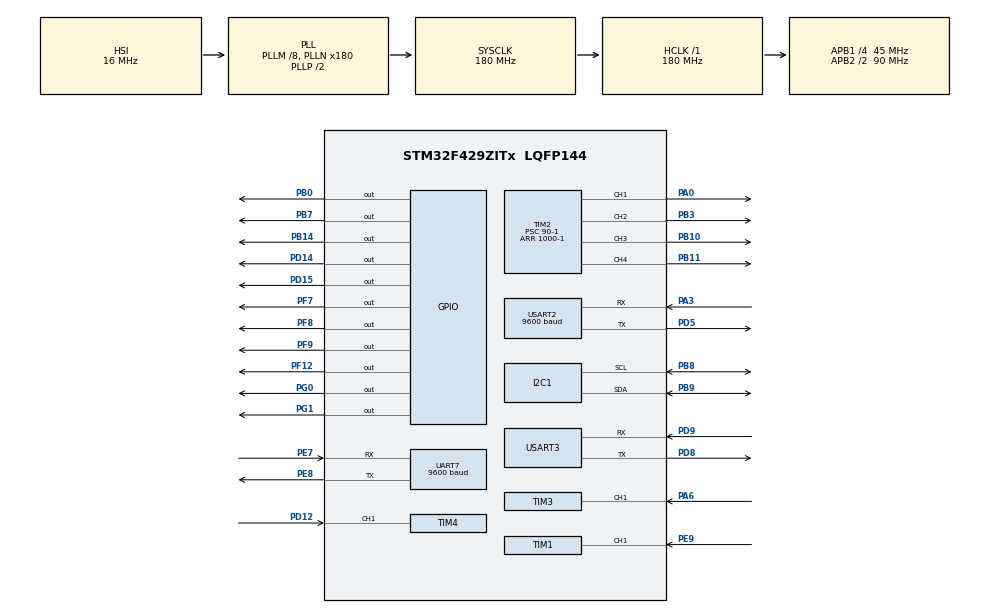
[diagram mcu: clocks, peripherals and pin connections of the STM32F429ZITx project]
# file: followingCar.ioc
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Mcu.Family=STM32F4
Mcu.Name=STM32F429ZITx
Mcu.Package=LQFP144
NVIC.PriorityGroup=NVIC_PRIORITYGROUP_4
NVIC.TIM1_CC_IRQn=true\:0\:0\:false\:false\:true\:true\:true\:true
NVIC.TIM3_IRQn=true\:0\:0\:false\:false\:true\:true\:true\:true
NVIC.TIM4_IRQn=true\:0\:0\:false\:false\:true\:true\:true\:true
NVIC.UART7_IRQn=true\:0\:0\:false\:false\:true\:true\:true\:true
NVIC.USART2_IRQn=true\:0\:0\:false\:false\:true\:true\:true\:true
NVIC.USART3_IRQn=true\:0\:0\:false\:false\:true\:true\:true\:true
PA0/WKUP.Signal=S_TIM2_CH1_ETR
PA13.Mode=Serial_Wire
PA13.Signal=SYS_JTMS-SWDIO
PA14.Mode=Serial_Wire
PA14.Signal=SYS_JTCK-SWCLK
PA3.Mode=Asynchronous
PA3.Signal=USART2_RX
PA6.Signal=S_TIM3_CH1
PB0.Signal=GPIO_Output
PB10.Signal=S_TIM2_CH3
PB11.Signal=S_TIM2_CH4
PB14.Signal=GPIO_Output
PB3.Signal=S_TIM2_CH2
PB7.Signal=GPIO_Output
PB8.GPIO_Pu=GPIO_PULLUP
PB8.Mode=I2C
PB8.Signal=I2C1_SCL
PB9.GPIO_Pu=GPIO_PULLUP
PB9.Mode=I2C
PB9.Signal=I2C1_SDA
PC14/OSC32_IN.Mode=LSE-External-Oscillator
PC14/OSC32_IN.Signal=RCC_OSC32_IN
PC15/OSC32_OUT.Mode=LSE-External-Oscillator
PC15/OSC32_OUT.Signal=RCC_OSC32_OUT
PD12.Signal=S_TIM4_CH1
PD14.Signal=GPIO_Output
PD15.Signal=GPIO_Output
PD5.Mode=Asynchronous
PD5.Signal=USART2_TX
PD8.Mode=Asynchronous
PD8.Signal=USART3_TX
PD9.Mode=Asynchronous
PD9.Signal=USART3_RX
PE7.Mode=Asynchronous
PE7.Signal=UART7_RX
PE8.Mode=Asynchronous
PE8.Signal=UART7_TX
PE9.Signal=S_TIM1_CH1
PF12.Signal=GPIO_Output
PF7.Signal=GPIO_Output
PF8.Signal=GPIO_Output
PF9.Signal=GPIO_Output
PG0.Signal=GPIO_Output
PG1.Signal=GPIO_Output
ProjectManager.HeapSize=0x200
ProjectManager.StackSize=0x400
ProjectManager.TargetToolchain=STM32CubeIDE
RCC.48MHZClocksFreq_Value=90000000
RCC.AHBFreq_Value=180000000
RCC.APB1CLKDivider=RCC_HCLK_DIV4
RCC.APB1Freq_Value=45000000
RCC.APB1TimFreq_Value=90000000
RCC.APB2CLKDivider=RCC_HCLK_DIV2
RCC.APB2Freq_Value=90000000
RCC.APB2TimFreq_Value=180000000
RCC.CortexFreq_Value=180000000
RCC.HCLKFreq_Value=180000000
RCC.HSE_VALUE=25000000
RCC.HSI_VALUE=16000000
RCC.PLLM=8
RCC.PLLN=180
RCC.RCC_RTC_Clock_Source=RCC_RTCCLKSOURCE_LSE
RCC.RCC_RTC_Clock_SourceVirtual=RCC_RTCCLKSOURCE_LSE
RCC.SYSCLKFreq_VALUE=180000000
RCC.SYSCLKSource=RCC_SYSCLKSOURCE_PLLCLK
RCC.VCOOutputFreq_Value=360000000
SH.S_TIM1_CH1.0=TIM1_CH1,Input_Capture1_from_TI1
SH.S_TIM2_CH1_ETR.0=TIM2_CH1,PWM Generation1 CH1
SH.S_TIM2_CH2.0=TIM2_CH2,PWM Generation2 CH2
SH.S_TIM2_CH3.0=TIM2_CH3,PWM Generation3 CH3
SH.S_TIM2_CH4.0=TIM2_CH4,PWM Generation4 CH4
SH.S_TIM3_CH1.0=TIM3_CH1,Input_Capture1_from_TI1
SH.S_TIM4_CH1.0=TIM4_CH1,Input_Capture1_from_TI1
TIM1.Channel-Input_Capture1_from_TI1=TIM_CHANNEL_1
TIM1.Prescaler=180-1
TIM2.Channel-PWM\ Generation1\ CH1=TIM_CHANNEL_1
TIM2.Channel-PWM\ Generation2\ CH2=TIM_CHANNEL_2
TIM2.Channel-PWM\ Generation3\ CH3=TIM_CHANNEL_3
TIM2.Channel-PWM\ Generation4\ CH4=TIM_CHANNEL_4
TIM2.OCMode_PWM-PWM\ Generation1\ CH1=TIM_OCMODE_PWM2
TIM2.OCMode_PWM-PWM\ Generation2\ CH2=TIM_OCMODE_PWM2
TIM2.OCMode_PWM-PWM\ Generation3\ CH3=TIM_OCMODE_PWM2
TIM2.OCMode_PWM-PWM\ Generation4\ CH4=TIM_OCMODE_PWM2
TIM2.Period=1000-1
TIM2.Prescaler=90-1
TIM2.Pulse-PWM\ Generation1\ CH1=0
TIM3.Channel-Input_Capture1_from_TI1=TIM_CHANNEL_1
TIM3.Period=0xffff-1
TIM3.Prescaler=90-1
TIM4.Channel-Input_Capture1_from_TI1=TIM_CHANNEL_1
TIM4.Period=65535
TIM4.Prescaler=90-1
UART7.BaudRate=9600
UART7.VirtualMode=Asynchronous
USART2.BaudRate=9600
USART2.VirtualMode=VM_ASYNC
USART3.VirtualMode=VM_ASYNC
VP_RTC_VS_RTC_Activate.Mode=RTC_Enabled
VP_TIM1_VS_ClockSourceINT.Mode=Internal
VP_TIM2_VS_ClockSourceINT.Mode=Internal
VP_TIM3_VS_ClockSourceINT.Mode=Internal
VP_TIM4_VS_ClockSourceINT.Mode=Internal
board=custom

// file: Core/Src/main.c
/* USER CODE BEGIN Header */
/**
  ******************************************************************************
  * @file           : main.c
  * @brief          : Main program body
  ******************************************************************************
  * @attention
  *
  * Copyright (c) 2022 STMicroelectronics.
  * All rights reserved.
  *
  * This software is licensed under terms that can be found in the LICENSE file
  * in the root directory of this software component.
  * If no LICENSE file comes with this software, it is provided AS-IS.
  *
  ******************************************************************************
  */
/* USER CODE END Header */
#include "main.h"
#include "i2c.h"
#include "rtc.h"
#include "tim.h"
#include "usart.h"
#include "gpio.h"

/* USER CODE BEGIN Includes */
#include "gps.h"
#include "bluetooth.h"
#include <stdio.h>
#include "HMC5883L.h"
#include "motor.h"
#include "selfDriving.h"
/* USER CODE END Includes */

/* USER CODE BEGIN PD */
#ifdef __GNUC__
  /* With GCC, small printf (option LD Linker->Libraries->Small printf
     set to 'Yes') calls __io_putchar() */
  #define PUTCHAR_PROTOTYPE int __io_putchar(int ch)
#else
  #define PUTCHAR_PROTOTYPE int fputc(int ch, FILE *f)
#endif /* __GNUC__ */
PUTCHAR_PROTOTYPE
{
  /* Place your implementation of fputc here */
  /* e.g. write a character to the EVAL_COM1 and Loop until the end of transmission */
  HAL_UART_Transmit(&huart3, (uint8_t *)&ch, 1, 0xFFFF);

  return ch;
}
/* USER CODE END PD */

/* USER CODE BEGIN PV */
extern GPS_t GPS;
extern _DestinationGPS phoneGPS;
extern _DestinationGPS waypointGPS;

extern int controlCMD;
extern uint8_t Mode_Flag;

/* USER CODE END PV */

void SystemClock_Config(void);
/* USER CODE BEGIN PFP */
void calculateHeading(void);
void delay_1 (uint16_t time);
void delay_2 (uint16_t time);
void delay_3 (uint16_t time);
void HCSR04_Read_1 (void);;
void HCSR04_Read_2 (void);
void HCSR04_Read_3 (void);
void Average_Difference();
/* USER CODE END PFP */

/* USER CODE BEGIN 0 */

/*int __io_putchar(int ch) {
	HAL_UART_Transmit(&huart3, &ch, 1, 1000);
	return ch;
}*/

uint32_t IC_Val1[3] = {0};
uint32_t IC_Val2[3] = {0};
uint32_t Difference[3] = {0};
uint8_t Is_First_Captured[3] = {0};  // is the first value captured ?
uint16_t Distance[3]  = {0};

uint32_t Difference_temp[3][10] = {0,};
uint32_t total[3] = {0};
uint32_t average[3] = {0};
uint8_t index = 0;

/* USER CODE END 0 */

int main(void)
{

  /* MCU Configuration--------------------------------------------------------*/

  /* Reset of all peripherals, Initializes the Flash interface and the Systick. */
  HAL_Init();

  /* Configure the system clock */
  SystemClock_Config();

  /* Initialize all configured peripherals */
  MX_GPIO_Init();
  MX_RTC_Init();
  MX_USART2_UART_Init();
  MX_USART3_UART_Init();
  MX_UART7_Init();
  MX_I2C1_Init();
  MX_TIM2_Init();
  MX_TIM3_Init();
  MX_TIM1_Init();
  MX_TIM4_Init();
  /* USER CODE BEGIN 2 */

  GPS_Init();
  BT_Init();
  Compass_Init();
  Motor_Init();

  uint32_t start_tick = HAL_GetTick();
  uint32_t current_tick;

  HAL_TIM_IC_Start_IT(&htim3, TIM_CHANNEL_1);
  HAL_TIM_IC_Start_IT(&htim4, TIM_CHANNEL_1);
  HAL_TIM_IC_Start_IT(&htim1, TIM_CHANNEL_1);

  uint16_t emergency;
  CONTROLLER_SIGNAL turn;

  /* USER CODE END 2 */

  /* Infinite loop */
  /* USER CODE BEGIN WHILE */
  while (1)
  {

	  current_tick = HAL_GetTick();
	  if(current_tick - start_tick >= 70){
		  calculateHeading();

		  HCSR04_Read_1();
		  HCSR04_Read_2();
		  HCSR04_Read_3();
		  Average_Difference();

		  start_tick = current_tick;
	  }

	  if(Mode_Flag==CONTROL_MODE){
		  Move(controlCMD);

		  if(Distance[0] < 30){
			  emergency=1;
			  turn = Distance[1] > Distance[2]? RIGHT : LEFT;
			  HAL_GPIO_WritePin(GPIOG, GPIO_PIN_0, 1);
		  }

		  if(emergency==1){
			  if(Distance[0] < 30){
				  Move(turn);
				  HAL_Delay(100);

			  }else {
				  Move(turn);
				  HAL_Delay(700);
				  HAL_GPIO_WritePin(GPIOG, GPIO_PIN_0, 0);
				  emergency=0;
			  }
		  }

	  }else if(Mode_Flag==WAYPOINT_MODE){
		  if(waypointGPS.latitude!=0 && waypointGPS.latitude!=0){
			  SelfDriving();
		  }

	  }else if(Mode_Flag==AUTO_MODE){

	  }

    /* USER CODE END WHILE */

  }
}

void SystemClock_Config(void)
{
  RCC_OscInitTypeDef RCC_OscInitStruct = {0};
  RCC_ClkInitTypeDef RCC_ClkInitStruct = {0};

  /** Configure the main internal regulator output voltage
  */
  __HAL_RCC_PWR_CLK_ENABLE();
  __HAL_PWR_VOLTAGESCALING_CONFIG(PWR_REGULATOR_VOLTAGE_SCALE1);

  /** Initializes the RCC Oscillators according to the specified parameters
  * in the RCC_OscInitTypeDef structure.
  */
  RCC_OscInitStruct.OscillatorType = RCC_OSCILLATORTYPE_HSI|RCC_OSCILLATORTYPE_LSE;
  RCC_OscInitStruct.LSEState = RCC_LSE_ON;
  RCC_OscInitStruct.HSIState = RCC_HSI_ON;
  RCC_OscInitStruct.HSICalibrationValue = RCC_HSICALIBRATION_DEFAULT;
  RCC_OscInitStruct.PLL.PLLState = RCC_PLL_ON;
  RCC_OscInitStruct.PLL.PLLSource = RCC_PLLSOURCE_HSI;
  RCC_OscInitStruct.PLL.PLLM = 8;
  RCC_OscInitStruct.PLL.PLLN = 180;
  RCC_OscInitStruct.PLL.PLLP = RCC_PLLP_DIV2;
  RCC_OscInitStruct.PLL.PLLQ = 4;
  if (HAL_RCC_OscConfig(&RCC_OscInitStruct) != HAL_OK)
  {
    Error_Handler();
  }

  /** Activate the Over-Drive mode
  */
  if (HAL_PWREx_EnableOverDrive() != HAL_OK)
  {
    Error_Handler();
  }

  /** Initializes the CPU, AHB and APB buses clocks
  */
  RCC_ClkInitStruct.ClockType = RCC_CLOCKTYPE_HCLK|RCC_CLOCKTYPE_SYSCLK
                              |RCC_CLOCKTYPE_PCLK1|RCC_CLOCKTYPE_PCLK2;
  RCC_ClkInitStruct.SYSCLKSource = RCC_SYSCLKSOURCE_PLLCLK;
  RCC_ClkInitStruct.AHBCLKDivider = RCC_SYSCLK_DIV1;
  RCC_ClkInitStruct.APB1CLKDivider = RCC_HCLK_DIV4;
  RCC_ClkInitStruct.APB2CLKDivider = RCC_HCLK_DIV2;

  if (HAL_RCC_ClockConfig(&RCC_ClkInitStruct, FLASH_LATENCY_5) != HAL_OK)
  {
    Error_Handler();
  }
}

/* USER CODE BEGIN 4 */

void HAL_UART_RxCpltCallback(UART_HandleTypeDef *huart)
{
	if(huart == &huart2) GPS_UART_CallBack();
	if(huart->Instance == UART7) Phone_UART_CallBack();

}

void HAL_TIM_IC_CaptureCallback(TIM_HandleTypeDef *htim)
{
	if (htim->Instance == TIM3 && htim->Channel == HAL_TIM_ACTIVE_CHANNEL_1)  // if the interrupt source is channel1
	{
		if (Is_First_Captured[0]==0) // if the first value is not captured
		{
			IC_Val1[0] = HAL_TIM_ReadCapturedValue(htim, TIM_CHANNEL_1); // read the first value
			Is_First_Captured[0] = 1;  // set the first captured as true
			// Now change the polarity to falling edge
			__HAL_TIM_SET_CAPTUREPOLARITY(htim, TIM_CHANNEL_1, TIM_INPUTCHANNELPOLARITY_FALLING);
		}

		else if (Is_First_Captured[0]==1)   // if the first is already captured
		{
			IC_Val2[0] = HAL_TIM_ReadCapturedValue(htim, TIM_CHANNEL_1);  // read second value
			__HAL_TIM_SET_COUNTER(htim, 0);  // reset the counter

			if (IC_Val2[0] > IC_Val1[0])
			{
				Difference[0] = IC_Val2[0]-IC_Val1[0];
			}

			else if (IC_Val1[0] > IC_Val2[0])
			{
				Difference[0] = (0xffff - IC_Val1[0]) + IC_Val2[0];
			}

			//Distance[0] = Difference[0] * .034/2;
			Is_First_Captured[0] = 0; // set it back to false

			// set polarity to rising edge
			__HAL_TIM_SET_CAPTUREPOLARITY(htim, TIM_CHANNEL_1, TIM_INPUTCHANNELPOLARITY_RISING);
			__HAL_TIM_DISABLE_IT(&htim3, TIM_IT_CC1);
		}
	}

	else if (htim->Instance == TIM4 && htim->Channel == HAL_TIM_ACTIVE_CHANNEL_1)  // if the interrupt source is channel1
	{
		if (Is_First_Captured[1]==0) // if the first value is not captured
		{
			IC_Val1[1] = HAL_TIM_ReadCapturedValue(htim, TIM_CHANNEL_1); // read the first value
			Is_First_Captured[1] = 1;  // set the first captured as true
			// Now change the polarity to falling edge
			__HAL_TIM_SET_CAPTUREPOLARITY(htim, TIM_CHANNEL_1, TIM_INPUTCHANNELPOLARITY_FALLING);
		}

		else if (Is_First_Captured[1]==1)   // if the first is already captured
		{
			IC_Val2[1] = HAL_TIM_ReadCapturedValue(htim, TIM_CHANNEL_1);  // read second value
			__HAL_TIM_SET_COUNTER(htim, 0);  // reset the counter

			if (IC_Val2[1] > IC_Val1[1])
			{
				Difference[1] = IC_Val2[1]-IC_Val1[1];
			}

			else if (IC_Val1[1] > IC_Val2[1])
			{
				Difference[1] = (0xffff - IC_Val1[1]) + IC_Val2[1];
			}

			//Distance[1] = Difference[1] * .034/2;
			Is_First_Captured[1] = 0; // set it back to false

			// set polarity to rising edge
			__HAL_TIM_SET_CAPTUREPOLARITY(htim, TIM_CHANNEL_1, TIM_INPUTCHANNELPOLARITY_RISING);
			__HAL_TIM_DISABLE_IT(&htim4, TIM_IT_CC1);
		}
	}

	else if (htim->Instance == TIM1 && htim->Channel == HAL_TIM_ACTIVE_CHANNEL_1)  // if the interrupt source is channel1
	{
		if (Is_First_Captured[2]==0) // if the first value is not captured
		{
			IC_Val1[2] = HAL_TIM_ReadCapturedValue(htim, TIM_CHANNEL_1); // read the first value
			Is_First_Captured[2] = 1;  // set the first captured as true
			// Now change the polarity to falling edge
			__HAL_TIM_SET_CAPTUREPOLARITY(htim, TIM_CHANNEL_1, TIM_INPUTCHANNELPOLARITY_FALLING);
		}

		else if (Is_First_Captured[2]==1)   // if the first is already captured
		{
			IC_Val2[2] = HAL_TIM_ReadCapturedValue(htim, TIM_CHANNEL_1);  // read second value
			__HAL_TIM_SET_COUNTER(htim, 0);  // reset the counter

			if (IC_Val2[2] > IC_Val1[2])
			{
				Difference[2] = IC_Val2[2]-IC_Val1[2];
			}

			else if (IC_Val1[2] > IC_Val2[2])
			{
				Difference[2] = (0xffff - IC_Val1[2]) + IC_Val2[2];
			}

			//Distance[2] = Difference[2] * .034/2;
			Is_First_Captured[2] = 0; // set it back to false

			// set polarity to rising edge
			__HAL_TIM_SET_CAPTUREPOLARITY(htim, TIM_CHANNEL_1, TIM_INPUTCHANNELPOLARITY_RISING);
			__HAL_TIM_DISABLE_IT(&htim1, TIM_IT_CC1);
		}
	}
}

void HCSR04_Read_1 (void)
{
	HAL_GPIO_WritePin(GPIOD, GPIO_PIN_14, GPIO_PIN_SET);  // pull the TRIG pin HIGH
	delay_1(10);  // wait for 10 us
	HAL_GPIO_WritePin(GPIOD, GPIO_PIN_14, GPIO_PIN_RESET);  // pull the TRIG pin low

	__HAL_TIM_ENABLE_IT(&htim3, TIM_IT_CC1);
}

void HCSR04_Read_2 (void)
{
	HAL_GPIO_WritePin(GPIOD, GPIO_PIN_15, GPIO_PIN_SET);  // pull the TRIG pin HIGH
	delay_2(10);  // wait for 10 us
	HAL_GPIO_WritePin(GPIOD, GPIO_PIN_15, GPIO_PIN_RESET);  // pull the TRIG pin low

	__HAL_TIM_ENABLE_IT(&htim4, TIM_IT_CC1);
}

void HCSR04_Read_3 (void)
{
	HAL_GPIO_WritePin(GPIOF, GPIO_PIN_12, GPIO_PIN_SET);  // pull the TRIG pin HIGH
	delay_3(10);  // wait for 10 us
	HAL_GPIO_WritePin(GPIOF, GPIO_PIN_12, GPIO_PIN_RESET);  // pull the TRIG pin low

	__HAL_TIM_ENABLE_IT(&htim1, TIM_IT_CC1);
}

void delay_1 (uint16_t time)
{
	__HAL_TIM_SET_COUNTER(&htim3, 0);
	while (__HAL_TIM_GET_COUNTER (&htim3) < time);
}

void delay_2 (uint16_t time)
{
	__HAL_TIM_SET_COUNTER(&htim4, 0);
	while (__HAL_TIM_GET_COUNTER (&htim4) < time);
}

void delay_3 (uint16_t time)
{
	__HAL_TIM_SET_COUNTER(&htim1, 0);
	while (__HAL_TIM_GET_COUNTER (&htim1) < time);
}

void Average_Difference(){

	 total[0] -= Difference_temp[0][index];
	 total[1] -= Difference_temp[1][index];
	 total[2] -= Difference_temp[2][index];

	  Difference_temp[0][index] = Difference[0];
	  Difference_temp[1][index] = Difference[1];
	  Difference_temp[2][index] = Difference[2];

	  total[0] +=  Difference_temp[0][index];
	  total[1] +=  Difference_temp[1][index];
	  total[2] +=  Difference_temp[2][index];

	  index++;

	  if(index >= 10){
		  index = 0;
	  }

	  average [0] = total[0]/ 10;
	  average [1] = total[1]/ 10;
	  average [2] = total[2]/ 10;

	  Distance[0] = average [0] * .034/2;
	  Distance[1] = average [1] * .034/2;
	  Distance[2] = average [2] * .034/2;
}

/* USER CODE END 4 */

void Error_Handler(void)
{
  __disable_irq();
  while (1)
  {
  }
}
